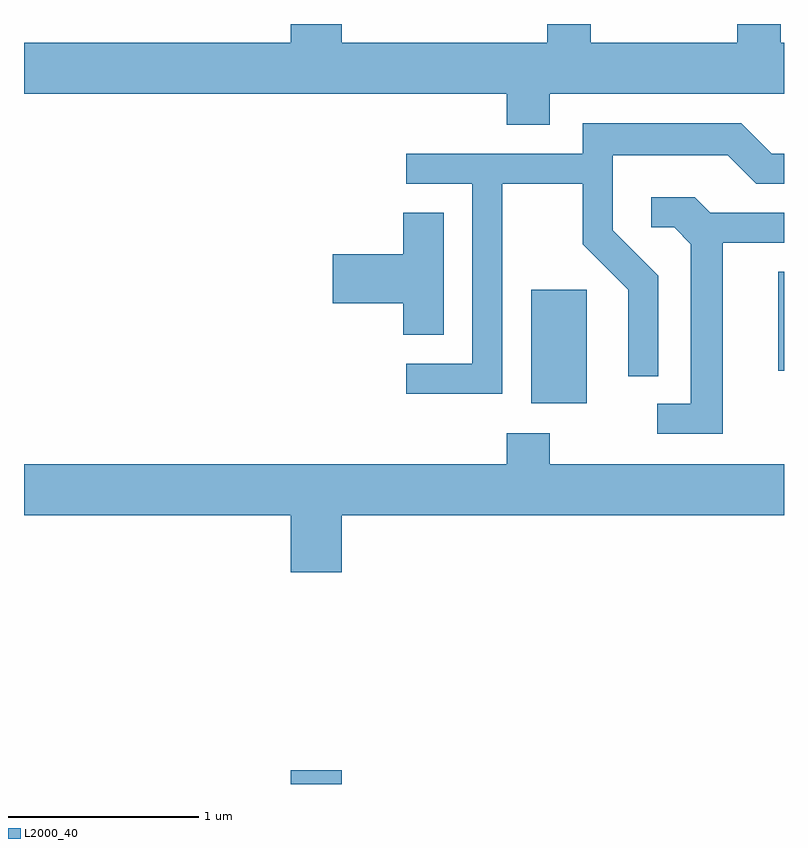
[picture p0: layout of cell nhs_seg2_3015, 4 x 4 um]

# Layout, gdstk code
import gdstk
lib = gdstk.Library(unit=1e-6, precision=1e-09)
def R(c, l, rs):  # rectangles x0, y0, x1, y1
    for r in rs: c.add(gdstk.rectangle(r[:2], r[2:], *l))
def P(c, l, *ps):  # polygons
    for p in ps: c.add(gdstk.Polygon(p, *l))
L2000_40 = (2000, 40)

nhs_seg2_3015 = lib.new_cell('nhs_seg2_3015')
R(nhs_seg2_3015, L2000_40, [(275.016,1035.802,275.284,1035.874), (276.281,1037.806,276.574,1038.404), (277.581,1037.976,277.611,1038.499)])
P(nhs_seg2_3015, L2000_40, [(276.379,1039.436),(277.611,1039.436),(277.611,1039.704),(277.594,1039.704),(277.594,1039.802),(277.366,1039.802),(277.366,1039.704),(276.594,1039.704),(276.594,1039.802),(276.366,1039.802),(276.366,1039.704),(275.284,1039.704),(275.284,1039.802),(275.016,1039.802),(275.016,1039.704),(273.611,1039.704),(273.611,1039.436),(276.151,1039.436),(276.151,1039.271),(276.379,1039.271)],
  [(276.129,1038.961),(276.551,1038.961),(276.551,1038.644),(276.791,1038.404),(276.791,1037.948),(276.949,1037.948),(276.949,1038.477),(276.709,1038.717),(276.709,1039.111),(277.314,1039.111),(277.464,1038.961),(277.611,1038.961),(277.611,1039.119),(277.547,1039.119),(277.387,1039.279),(276.551,1039.279),(276.551,1039.119),(275.623,1039.119),(275.623,1038.961),(275.971,1038.961),(275.971,1038.014),(275.623,1038.014),(275.623,1037.856),(276.129,1037.856)],
  [(277.289,1038.651),(277.611,1038.651),(277.611,1038.809),(277.222,1038.809),(277.142,1038.889),(276.913,1038.889),(276.913,1038.731),(277.034,1038.731),(277.121,1038.644),(277.121,1037.804),(276.943,1037.804),(276.943,1037.646),(277.289,1037.646)],
  [(275.819,1038.809),(275.606,1038.809),(275.606,1038.589),(275.236,1038.589),(275.236,1038.331),(275.606,1038.331),(275.606,1038.166),(275.819,1038.166)],
  [(275.284,1037.216),(277.611,1037.216),(277.611,1037.484),(276.379,1037.484),(276.379,1037.649),(276.151,1037.649),(276.151,1037.484),(273.611,1037.484),(273.611,1037.216),(275.016,1037.216),(275.016,1036.916),(275.284,1036.916)])

lib.write_gds('nhs_seg2_3015.gds')
